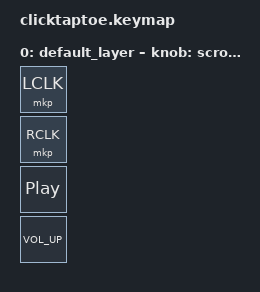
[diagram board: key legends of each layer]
#include <behaviors.dtsi>
#include <dt-bindings/zmk/keys.h>
#include <dt-bindings/zmk/pointing.h>

&msc {
    delay-ms = <0>;
    trigger-period-ms = <8>;
    time-to-max-speed-ms = <0>;
    acceleration-exponent = <0>;
};

/ {
    behaviors {
        scroll_up_down: scroll_up_down {
            compatible = "zmk,behavior-sensor-rotate";
            #sensor-binding-cells = <0>;
            bindings = <&msc MOVE_Y(60)>, <&msc MOVE_Y(-60)>;
            tap-ms = <40>;
        };
    };

    keymap {
        compatible = "zmk,keymap";

        default_layer {
            bindings = <
                &mkp LCLK
                &mkp RCLK
                &kp C_PLAY_PAUSE
                &kp C_VOL_UP
            >;

            sensor-bindings = <&scroll_up_down>;
        };
    };
};
